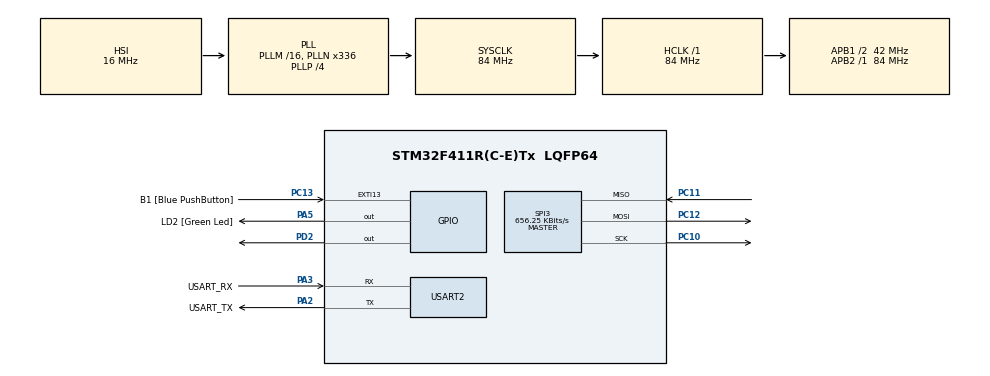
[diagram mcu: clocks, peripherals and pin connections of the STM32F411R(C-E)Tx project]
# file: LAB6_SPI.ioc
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Mcu.Family=STM32F4
Mcu.Name=STM32F411R(C-E)Tx
Mcu.Package=LQFP64
NVIC.PriorityGroup=NVIC_PRIORITYGROUP_0
NVIC.SPI3_IRQn=true\:0\:0\:false\:false\:true\:true\:true\:true
PA13.GPIO_Label=TMS
PA13.Mode=Serial_Wire
PA13.Signal=SYS_JTMS-SWDIO
PA14.GPIO_Label=TCK
PA14.Mode=Serial_Wire
PA14.Signal=SYS_JTCK-SWCLK
PA2.GPIO_Label=USART_TX
PA2.Mode=Asynchronous
PA2.Signal=USART2_TX
PA3.GPIO_Label=USART_RX
PA3.Mode=Asynchronous
PA3.Signal=USART2_RX
PA5.GPIO_Label=LD2 [Green Led]
PA5.Signal=GPIO_Output
PB3.GPIO_Label=SWO
PB3.Signal=SYS_JTDO-SWO
PC10.Mode=Full_Duplex_Master
PC10.Signal=SPI3_SCK
PC11.Mode=Full_Duplex_Master
PC11.Signal=SPI3_MISO
PC12.Mode=Full_Duplex_Master
PC12.Signal=SPI3_MOSI
PC13-ANTI_TAMP.GPIO_Label=B1 [Blue PushButton]
PC13-ANTI_TAMP.GPIO_ModeDefaultEXTI=GPIO_MODE_IT_FALLING
PC13-ANTI_TAMP.Signal=GPXTI13
PC14-OSC32_IN.Mode=LSE-External-Oscillator
PC14-OSC32_IN.Signal=RCC_OSC32_IN
PC15-OSC32_OUT.Mode=LSE-External-Oscillator
PC15-OSC32_OUT.Signal=RCC_OSC32_OUT
PD2.PinState=GPIO_PIN_SET
PD2.Signal=GPIO_Output
PH0\ -\ OSC_IN.Mode=HSE-External-Clock-Source
PH0\ -\ OSC_IN.Signal=RCC_OSC_IN
PH1\ -\ OSC_OUT.Mode=HSE-External-Clock-Source
PH1\ -\ OSC_OUT.Signal=RCC_OSC_OUT
ProjectManager.HeapSize=0x200
ProjectManager.StackSize=0x400
ProjectManager.TargetToolchain=STM32CubeIDE
RCC.48MHZClocksFreq_Value=84000000
RCC.AHBFreq_Value=84000000
RCC.APB1CLKDivider=RCC_HCLK_DIV2
RCC.APB1Freq_Value=42000000
RCC.APB1TimFreq_Value=84000000
RCC.APB2Freq_Value=84000000
RCC.APB2TimFreq_Value=84000000
RCC.CortexFreq_Value=84000000
RCC.FLatency-AdvancedSettings=FLASH_LATENCY_2
RCC.HCLKFreq_Value=84000000
RCC.HSE_VALUE=8000000
RCC.HSI_VALUE=16000000
RCC.PLLN=336
RCC.PLLP=RCC_PLLP_DIV4
RCC.SYSCLKFreq_VALUE=84000000
RCC.SYSCLKSource=RCC_SYSCLKSOURCE_PLLCLK
RCC.VCOOutputFreq_Value=336000000
SPI3.BaudRatePrescaler=SPI_BAUDRATEPRESCALER_64
SPI3.CLKPhase=SPI_PHASE_2EDGE
SPI3.CLKPolarity=SPI_POLARITY_HIGH
SPI3.CalculateBaudRate=656.25 KBits/s
SPI3.Direction=SPI_DIRECTION_2LINES
SPI3.Mode=SPI_MODE_MASTER
SPI3.VirtualType=VM_MASTER
USART2.VirtualMode=VM_ASYNC
board=NUCLEO-F411RE

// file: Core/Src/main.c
/* USER CODE BEGIN Header */
/**
  ******************************************************************************
  * @file           : main.c
  * @brief          : Main program body
  ******************************************************************************
  * @attention
  *
  * Copyright (c) 2023 STMicroelectronics.
  * All rights reserved.
  *
  * This software is licensed under terms that can be found in the LICENSE file
  * in the root directory of this software component.
  * If no LICENSE file comes with this software, it is provided AS-IS.
  *
  ******************************************************************************
  */
/* USER CODE END Header */
#include "main.h"

SPI_HandleTypeDef hspi3;

UART_HandleTypeDef huart2;

/* USER CODE BEGIN PV */

uint8_t SPIRx[10];
uint8_t SPITx[10];

uint8_t switch_read;
uint8_t check = 0;

uint8_t cmd = 0;

/* USER CODE END PV */

void SystemClock_Config(void);
static void MX_GPIO_Init(void);
static void MX_USART2_UART_Init(void);
static void MX_SPI3_Init(void);

int main(void)
{

  /* MCU Configuration--------------------------------------------------------*/

  /* Reset of all peripherals, Initializes the Flash interface and the Systick. */
  HAL_Init();

  /* Configure the system clock */
  SystemClock_Config();

  /* Initialize all configured peripherals */
  MX_GPIO_Init();
  MX_USART2_UART_Init();
  MX_SPI3_Init();
  /* USER CODE BEGIN 2 */

  SPITxRx_Setup();
  setOutputGPIOB();

  /* USER CODE END 2 */

  /* Infinite loop */
  while (1)
  {

    /* USER CODE BEGIN 3 */
	  static uint32_t timestamp = 0;
	  if(HAL_GetTick() > timestamp)
	  {
		  timestamp = HAL_GetTick() + 10;
		  cmd++;
		  cmd = cmd % 2;
		  switch (cmd)
		  {
		  case 0:
			  SPITxRx_readIO();
			  break;
		  case 1:
			  SPITxRx_writeIO();
			  break;
//		  case 2:
//			  setOutputGPIOB();
//			  break;
		  }
	  }
//	  SPITxRx_writeIO();

//	  if(check == 0)
//	  {
//		  check == 1;
//		  SPITxRx_readIO();
//	  }
//	  else if(check == 0)
//	  {
//		  check == 0;
//		  SPITxRx_writeIO();
//	  }
  }
  /* USER CODE END 3 */
}

void SystemClock_Config(void)
{
  RCC_OscInitTypeDef RCC_OscInitStruct = {0};
  RCC_ClkInitTypeDef RCC_ClkInitStruct = {0};

  /** Configure the main internal regulator output voltage
  */
  __HAL_RCC_PWR_CLK_ENABLE();
  __HAL_PWR_VOLTAGESCALING_CONFIG(PWR_REGULATOR_VOLTAGE_SCALE1);

  /** Initializes the RCC Oscillators according to the specified parameters
  * in the RCC_OscInitTypeDef structure.
  */
  RCC_OscInitStruct.OscillatorType = RCC_OSCILLATORTYPE_HSI;
  RCC_OscInitStruct.HSIState = RCC_HSI_ON;
  RCC_OscInitStruct.HSICalibrationValue = RCC_HSICALIBRATION_DEFAULT;
  RCC_OscInitStruct.PLL.PLLState = RCC_PLL_ON;
  RCC_OscInitStruct.PLL.PLLSource = RCC_PLLSOURCE_HSI;
  RCC_OscInitStruct.PLL.PLLM = 16;
  RCC_OscInitStruct.PLL.PLLN = 336;
  RCC_OscInitStruct.PLL.PLLP = RCC_PLLP_DIV4;
  RCC_OscInitStruct.PLL.PLLQ = 4;
  if (HAL_RCC_OscConfig(&RCC_OscInitStruct) != HAL_OK)
  {
    Error_Handler();
  }

  /** Initializes the CPU, AHB and APB buses clocks
  */
  RCC_ClkInitStruct.ClockType = RCC_CLOCKTYPE_HCLK|RCC_CLOCKTYPE_SYSCLK
                              |RCC_CLOCKTYPE_PCLK1|RCC_CLOCKTYPE_PCLK2;
  RCC_ClkInitStruct.SYSCLKSource = RCC_SYSCLKSOURCE_PLLCLK;
  RCC_ClkInitStruct.AHBCLKDivider = RCC_SYSCLK_DIV1;
  RCC_ClkInitStruct.APB1CLKDivider = RCC_HCLK_DIV2;
  RCC_ClkInitStruct.APB2CLKDivider = RCC_HCLK_DIV1;

  if (HAL_RCC_ClockConfig(&RCC_ClkInitStruct, FLASH_LATENCY_2) != HAL_OK)
  {
    Error_Handler();
  }
}

static void MX_SPI3_Init(void)
{

  /* SPI3 parameter configuration*/
  hspi3.Instance = SPI3;
  hspi3.Init.Mode = SPI_MODE_MASTER;
  hspi3.Init.Direction = SPI_DIRECTION_2LINES;
  hspi3.Init.DataSize = SPI_DATASIZE_8BIT;
  hspi3.Init.CLKPolarity = SPI_POLARITY_HIGH;
  hspi3.Init.CLKPhase = SPI_PHASE_2EDGE;
  hspi3.Init.NSS = SPI_NSS_SOFT;
  hspi3.Init.BaudRatePrescaler = SPI_BAUDRATEPRESCALER_64;
  hspi3.Init.FirstBit = SPI_FIRSTBIT_MSB;
  hspi3.Init.TIMode = SPI_TIMODE_DISABLE;
  hspi3.Init.CRCCalculation = SPI_CRCCALCULATION_DISABLE;
  hspi3.Init.CRCPolynomial = 10;
  if (HAL_SPI_Init(&hspi3) != HAL_OK)
  {
    Error_Handler();
  }

}

static void MX_USART2_UART_Init(void)
{

  huart2.Instance = USART2;
  huart2.Init.BaudRate = 115200;
  huart2.Init.WordLength = UART_WORDLENGTH_8B;
  huart2.Init.StopBits = UART_STOPBITS_1;
  huart2.Init.Parity = UART_PARITY_NONE;
  huart2.Init.Mode = UART_MODE_TX_RX;
  huart2.Init.HwFlowCtl = UART_HWCONTROL_NONE;
  huart2.Init.OverSampling = UART_OVERSAMPLING_16;
  if (HAL_UART_Init(&huart2) != HAL_OK)
  {
    Error_Handler();
  }

}

static void MX_GPIO_Init(void)
{
  GPIO_InitTypeDef GPIO_InitStruct = {0};

  /* GPIO Ports Clock Enable */
  __HAL_RCC_GPIOC_CLK_ENABLE();
  __HAL_RCC_GPIOH_CLK_ENABLE();
  __HAL_RCC_GPIOA_CLK_ENABLE();
  __HAL_RCC_GPIOD_CLK_ENABLE();
  __HAL_RCC_GPIOB_CLK_ENABLE();

  /*Configure GPIO pin Output Level */
  HAL_GPIO_WritePin(LD2_GPIO_Port, LD2_Pin, GPIO_PIN_RESET);

  /*Configure GPIO pin Output Level */
  HAL_GPIO_WritePin(GPIOD, GPIO_PIN_2, GPIO_PIN_SET);

  /*Configure GPIO pin : B1_Pin */
  GPIO_InitStruct.Pin = B1_Pin;
  GPIO_InitStruct.Mode = GPIO_MODE_IT_FALLING;
  GPIO_InitStruct.Pull = GPIO_NOPULL;
  HAL_GPIO_Init(B1_GPIO_Port, &GPIO_InitStruct);

  /*Configure GPIO pin : LD2_Pin */
  GPIO_InitStruct.Pin = LD2_Pin;
  GPIO_InitStruct.Mode = GPIO_MODE_OUTPUT_PP;
  GPIO_InitStruct.Pull = GPIO_NOPULL;
  GPIO_InitStruct.Speed = GPIO_SPEED_FREQ_LOW;
  HAL_GPIO_Init(LD2_GPIO_Port, &GPIO_InitStruct);

  /*Configure GPIO pin : PD2 */
  GPIO_InitStruct.Pin = GPIO_PIN_2;
  GPIO_InitStruct.Mode = GPIO_MODE_OUTPUT_PP;
  GPIO_InitStruct.Pull = GPIO_NOPULL;
  GPIO_InitStruct.Speed = GPIO_SPEED_FREQ_LOW;
  HAL_GPIO_Init(GPIOD, &GPIO_InitStruct);

}

/* USER CODE BEGIN 4 */

void SPITxRx_Setup()
{
	//CS pulse
	HAL_GPIO_WritePin(GPIOD, GPIO_PIN_2, 0); // CS Select
	HAL_Delay(1);
	HAL_GPIO_WritePin(GPIOD, GPIO_PIN_2, 1); // CS deSelect
	HAL_Delay(1);
}

void SPITxRx_readIO()
{
	if (HAL_GPIO_ReadPin(GPIOD, GPIO_PIN_2))
	{
		HAL_GPIO_WritePin(GPIOD, GPIO_PIN_2, 0);
		SPITx[0] = 0b01000001;
		SPITx[1] = 0x12;
		SPITx[2] = 0;
		SPITx[3] = 0;
		HAL_SPI_TransmitReceive_IT(&hspi3, SPITx, SPIRx, 4);
		switch_read = SPIRx[2];
	}
}

void setOutputGPIOB()
{
	if (HAL_GPIO_ReadPin(GPIOD, GPIO_PIN_2))
	{
		HAL_GPIO_WritePin(GPIOD, GPIO_PIN_2, 0);
		SPITx[0] = 0b01000000;
		SPITx[1] = 0x01;
		SPITx[2] = 0b00000000;
		HAL_SPI_TransmitReceive_IT(&hspi3, SPITx, SPIRx, 3);
	}
}

void SPITxRx_writeIO()
{
	if (HAL_GPIO_ReadPin(GPIOD, GPIO_PIN_2))
	{
		if(SPIRx[2] == 0b00001110)
		{
		HAL_GPIO_WritePin(GPIOD, GPIO_PIN_2, 0);
		SPITx[0] = 0b01000000;
		SPITx[1] = 0x13;
		SPITx[2] = 0b10101010;
		HAL_SPI_TransmitReceive_IT(&hspi3, SPITx, SPIRx, 3);
		HAL_Delay(500);

		HAL_GPIO_WritePin(GPIOD, GPIO_PIN_2, 0);
		SPITx[0] = 0b01000000;
		SPITx[1] = 0x13;
		SPITx[2] = 0b01010101;
		HAL_SPI_TransmitReceive_IT(&hspi3, SPITx, SPIRx, 3);
		HAL_Delay(500);
		}
		else if(SPIRx[2] == 0b00001111)
		{
		HAL_GPIO_WritePin(GPIOD, GPIO_PIN_2, 0);
		SPITx[0] = 0b01000000;
		SPITx[1] = 0x13;
		SPITx[2] = 0b11111111;
		HAL_SPI_TransmitReceive_IT(&hspi3, SPITx, SPIRx, 3);
		}
		else if(SPIRx[2] == 0b00001101)
		{
		HAL_GPIO_WritePin(GPIOD, GPIO_PIN_2, 0);
		SPITx[0] = 0b01000000;
		SPITx[1] = 0x13;
		SPITx[2] = 0b00111111;
		HAL_SPI_TransmitReceive_IT(&hspi3, SPITx, SPIRx, 3);
		HAL_Delay(100);

		HAL_GPIO_WritePin(GPIOD, GPIO_PIN_2, 0);
		SPITx[0] = 0b01000000;
		SPITx[1] = 0x13;
		SPITx[2] = 0b11001111;
		HAL_SPI_TransmitReceive_IT(&hspi3, SPITx, SPIRx, 3);
		HAL_Delay(100);

		HAL_GPIO_WritePin(GPIOD, GPIO_PIN_2, 0);
		SPITx[0] = 0b01000000;
		SPITx[1] = 0x13;
		SPITx[2] = 0b11110011;
		HAL_SPI_TransmitReceive_IT(&hspi3, SPITx, SPIRx, 3);
		HAL_Delay(100);

		HAL_GPIO_WritePin(GPIOD, GPIO_PIN_2, 0);
		SPITx[0] = 0b01000000;
		SPITx[1] = 0x13;
		SPITx[2] = 0b11111100;
		HAL_SPI_TransmitReceive_IT(&hspi3, SPITx, SPIRx, 3);
		HAL_Delay(100);
		}
		else if(SPIRx[2] == 0b00001011)
		{
		HAL_GPIO_WritePin(GPIOD, GPIO_PIN_2, 0);
		SPITx[0] = 0b01000000;
		SPITx[1] = 0x13;
		SPITx[2] = 0b11111110;
		HAL_SPI_TransmitReceive_IT(&hspi3, SPITx, SPIRx, 3);
		HAL_Delay(100);

		HAL_GPIO_WritePin(GPIOD, GPIO_PIN_2, 0);
		SPITx[0] = 0b01000000;
		SPITx[1] = 0x13;
		SPITx[2] = 0b01111111;
		HAL_SPI_TransmitReceive_IT(&hspi3, SPITx, SPIRx, 3);
		HAL_Delay(100);

		HAL_GPIO_WritePin(GPIOD, GPIO_PIN_2, 0);
		SPITx[0] = 0b01000000;
		SPITx[1] = 0x13;
		SPITx[2] = 0b11111101;
		HAL_SPI_TransmitReceive_IT(&hspi3, SPITx, SPIRx, 3);
		HAL_Delay(100);

		HAL_GPIO_WritePin(GPIOD, GPIO_PIN_2, 0);
		SPITx[0] = 0b01000000;
		SPITx[1] = 0x13;
		SPITx[2] = 0b10111111;
		HAL_SPI_TransmitReceive_IT(&hspi3, SPITx, SPIRx, 3);
		HAL_Delay(100);

		HAL_GPIO_WritePin(GPIOD, GPIO_PIN_2, 0);
		SPITx[0] = 0b01000000;
		SPITx[1] = 0x13;
		SPITx[2] = 0b11111011;
		HAL_SPI_TransmitReceive_IT(&hspi3, SPITx, SPIRx, 3);
		HAL_Delay(100);

		HAL_GPIO_WritePin(GPIOD, GPIO_PIN_2, 0);
		SPITx[0] = 0b01000000;
		SPITx[1] = 0x13;
		SPITx[2] = 0b11011111;
		HAL_SPI_TransmitReceive_IT(&hspi3, SPITx, SPIRx, 3);
		HAL_Delay(100);

		HAL_GPIO_WritePin(GPIOD, GPIO_PIN_2, 0);
		SPITx[0] = 0b01000000;
		SPITx[1] = 0x13;
		SPITx[2] = 0b11110111;
		HAL_SPI_TransmitReceive_IT(&hspi3, SPITx, SPIRx, 3);
		HAL_Delay(100);

		HAL_GPIO_WritePin(GPIOD, GPIO_PIN_2, 0);
		SPITx[0] = 0b01000000;
		SPITx[1] = 0x13;
		SPITx[2] = 0b11101111;
		HAL_SPI_TransmitReceive_IT(&hspi3, SPITx, SPIRx, 3);
		HAL_Delay(100);
		}
		else if(SPIRx[2] == 0b00000111)
		{
		HAL_GPIO_WritePin(GPIOD, GPIO_PIN_2, 0);
		SPITx[0] = 0b01000000;
		SPITx[1] = 0x13;
		SPITx[2] = 0b00001111;
		HAL_SPI_TransmitReceive_IT(&hspi3, SPITx, SPIRx, 3);
		HAL_Delay(100);

		HAL_GPIO_WritePin(GPIOD, GPIO_PIN_2, 0);
		SPITx[0] = 0b01000000;
		SPITx[1] = 0x13;
		SPITx[2] = 0b11110000;
		HAL_SPI_TransmitReceive_IT(&hspi3, SPITx, SPIRx, 3);
		HAL_Delay(100);
		}
	}
}

void HAL_SPI_TxRxCpltCallback(SPI_HandleTypeDef *hspi)
{
	HAL_GPIO_WritePin(GPIOD, GPIO_PIN_2, 1); //CS dnSelect
}

//void HAL_SPI_TxCpltCallback(SPI_HandleTypeDef *hspi)
//{
//	HAL_GPIO_WritePin(GPIOD, GPIO_PIN_2, 1); //CS dnSelect
//}

/* USER CODE END 4 */

void Error_Handler(void)
{
  __disable_irq();
  while (1)
  {
  }
}
